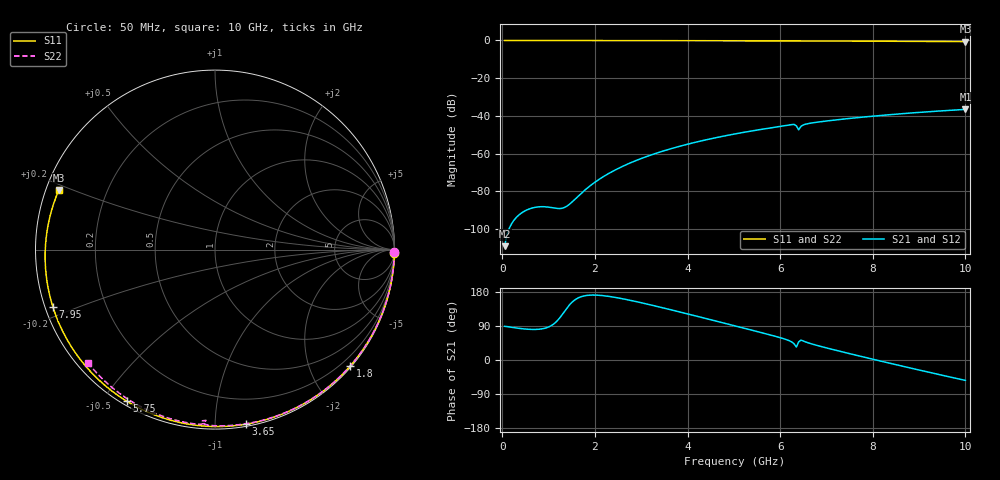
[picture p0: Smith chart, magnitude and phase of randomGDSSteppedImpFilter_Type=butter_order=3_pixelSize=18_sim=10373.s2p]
! freq	dB(S11)	phase(S11)	dB(S12)	phase(S12)
!  dB(S21)	phase(S21)	dB(S22)	phase(S22)
!S-par simulation data
#  GHz  S  DB  R 50
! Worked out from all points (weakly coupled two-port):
!   200 points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, 50 MHz to 10 GHz, reference 50 ohm
!   highest |S21| = -36.57 dB at 10 GHz (marker M1); lowest = -109.1 dB at 50 MHz (marker M2)
!   lowest |S11| = -0.6 dB at 10 GHz (marker M3), VSWR 28.04, Z = 1.84 + j9.23 ohm
!   |S11| at or under -10 dB: nowhere
!   |S22| runs from -0.5 to 0.0 dB; largest |S21 - S12| = 0
!   S11 on the Smith chart (normalised r, x): 50 MHz: 0, -98; 1.8 GHz: 0.02, -2.68; 3.65 GHz: 0.01, -1.19; 5.75 GHz: 0.02, -0.57; 7.95 GHz: 0.02, -0.17; 10 GHz: 0.04, +0.18
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0.05  -0.00 -1.2  -109.11 89.0  -109.11 89.0  -0.00 -0.8
0.85  -0.02 -19.5  -88.17 82.0  -88.17 82.0  -0.02 -13.5
1.75  -0.05 -39.8  -80.08 168.7  -80.08 168.7  -0.04 -27.6
1.8  -0.05 -40.9  -79.02 169.9  -79.02 169.9  -0.04 -28.4
2.1  -0.06 -47.5  -73.52 170.7  -73.52 170.7  -0.04 -33.0
2.45  -0.07 -55.0  -68.55 164.9  -68.55 164.9  -0.05 -38.3
2.9  -0.08 -64.5  -63.57 153.9  -63.57 153.9  -0.06 -45.1
3.4  -0.10 -74.9  -59.21 139.7  -59.21 139.7  -0.07 -52.5
3.65  -0.11 -79.9  -57.36 132.3  -57.36 132.3  -0.08 -56.1
4.35  -0.13 -93.8  -52.97 110.9  -52.97 110.9  -0.09 -66.2
5.05  -0.16 -107.2  -49.46 89.3  -49.46 89.3  -0.12 -75.9
5.75  -0.20 -120.3  -46.55 67.3  -46.55 67.3  -0.14 -85.4
6.3  -0.24 -130.4  -44.53 42.9  -44.53 42.9  -0.23 -93.4
6.35  -0.24 -131.3  -45.30 34.2  -45.30 34.2  -0.39 -94.2
6.4  -0.24 -132.2  -47.40 47.7  -47.40 47.7  -0.42 -93.0
6.45  -0.25 -133.1  -45.55 52.6  -45.55 52.6  -0.26 -93.6
6.5  -0.25 -134.0  -44.80 50.0  -44.80 50.0  -0.22 -94.5
6.7  -0.26 -137.7  -43.70 41.7  -43.70 41.7  -0.20 -97.5
7.95  -0.37 -160.6  -40.28 3.5  -40.28 3.5  -0.27 -113.4
8.35  -0.41 -168.1  -39.41 -8.0  -39.41 -8.0  -0.30 -118.3
9.2  -0.51 175.5  -37.81 -32.0  -37.81 -32.0  -0.38 -128.6
10  -0.62 159.1  -36.57 -53.8  -36.57 -53.8  -0.47 -138.3
